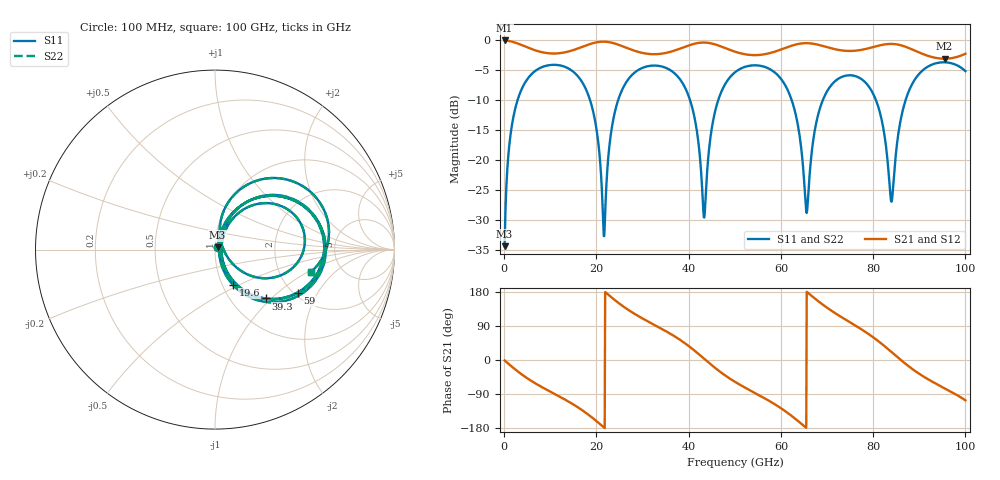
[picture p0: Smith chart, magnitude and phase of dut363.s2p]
! Touchstone file exported from HFSS 2026.1.0
!  File:  C:/ffzhzh/LocalFiles/Ansys_Project_Files/temp_train_TSV_RDL_363_1783711123_45496.aedt
!  Generated:  03:26:58 AM Jul 11, 2026
!  Design:  TSV_RDL
!  Project:  temp_train_TSV_RDL_363_1783711123_45496
! Variables:
!  h_bsmrdl = 2.75um
!  h_ox = 20um
!  h_rdl = 5um
!  h_sub = 91.24um
!  h_tmrdl = 4.01um
!  h_tsv = 91.24um
!  h_via = 3um
!  l_bsmrdl = 292.86um
!  l_sub = 2635.95um
!  l_tmrdl = 309.05um
!  m_sub = 200um
!  pitch = 59.58um
!  r_tsv = 5.27um
!  s_tmrdl = 10um
!  w_bsmrdl = 19.34um
!  w_sub = 500um
!  w_tmrdl = 21.05um
!  x_tsv_center1 = 319.575um
!  x_tsv_center2 = 631.775um
!  x_tsv_center3 = 961.875um
!  x_tsv_center4 = 1274.075um
!  x_tsv_center5 = 1604.175um
!  x_tsv_center6 = 1916.375um
# GHz S MA R 50.000000
! Terminal data exported
! Port[1] = TM_RDL1_1_T1
! Port[2] = TM_RDL5_1_T1
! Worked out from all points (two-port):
!   1000 points, 100 MHz to 100 GHz, reference 50 ohm
!   highest |S21| = -0.13 dB at 100 MHz (marker M1); lowest = -3.2 dB at 95.5 GHz (marker M2)
!   |S21| within 3 dB of the highest: start of sweep to 94.39 GHz; 96.55 GHz to end of sweep
!   lowest |S11| = -34.4 dB at 100 MHz (marker M3), VSWR 1.04, Z = 51.5 + j1.25 ohm
!   |S11| at or under -10 dB: 18.59 GHz to 24.75 GHz (6.159 GHz wide, 28.4 % of centre); 62.3 GHz to 69.13 GHz (6.827 GHz wide, 10.4 % of centre); 80.56 GHz to 87.07 GHz (6.501 GHz wide, 7.76 % of centre) (the widest 3 of 5)
!   |S22| runs from -34.4 to -3.8 dB; largest |S21 - S12| = 1.7e-14
!   S11 on the Smith chart (normalised r, x): 100 MHz: 1.03, +0.03; 19.6 GHz: 1.12, -0.47; 39.3 GHz: 1.44, -0.92; 59 GHz: 2.09, -1.38; 100 GHz: 2.99, -1.07
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0.1  0.01897 39.8  0.9856 -1.1  0.9856 -1.1  0.01897 39.8
! Gamma 0 0 0 0
! Port Impedance 50 0 50 0
1.5  0.1739 68.4  0.9674 -15.8  0.9674 -15.8  0.1739 68.4
4.3  0.4232 45.0  0.8857 -42.3  0.8857 -42.3  0.4232 45.0
16.8  0.4498 -40.7  0.8678 -131.4  0.8678 -131.4  0.4498 -40.7
19.6  0.2219 -62.9  0.943 -157.1  0.943 -157.1  0.2219 -62.8
21.7  0.02303 14.2  0.9629 -178.6  0.9629 -178.6  0.02344 14.0
25.1  0.3453 53.7  0.8985 147.8  0.8985 147.8  0.3453 53.6
33.4  0.6057 -3.2  0.7592 87.2  0.7592 87.2  0.6057 -3.3
39.3  0.3925 -43.9  0.8758 43.3  0.8758 43.3  0.3924 -44.0
43.4  0.03291 11.3  0.9468 2.9  0.9468 2.9  0.0319 11.5
45.8  0.2587 61.2  0.9121 -21.4  0.9121 -21.4  0.2585 61.4
50.1  0.5368 29.6  0.7935 -58.0  0.7935 -58.0  0.5367 29.7
59  0.5201 -27.6  0.8024 -119.2  0.8024 -119.2  0.52 -27.6
63.1  0.2477 -57.5  0.9087 -154.9  0.9087 -154.9  0.2477 -57.5
65.5  0.03677 -12.0  0.9357 -179.1  0.9357 -179.1  0.03669 -11.9
66.7  0.1169 61.4  0.9289 168.8  0.9289 168.8  0.1169 61.4
76.1  0.4976 1.5  0.8093 91.3  0.8093 91.3  0.4975 1.5
80.9  0.2917 -32.6  0.8864 51.9  0.8864 51.9  0.2916 -32.6
83.4  0.07394 -28.2  0.9211 27.2  0.9211 27.2  0.07396 -27.9
88.2  0.4079 63.1  0.8378 -21.1  0.8378 -21.1  0.4081 63.1
95.5  0.648 14.6  0.694 -74.8  0.694 -74.8  0.6481 14.6
100  0.5474 -13.3  0.7634 -106.3  0.7634 -106.3  0.5475 -13.3
